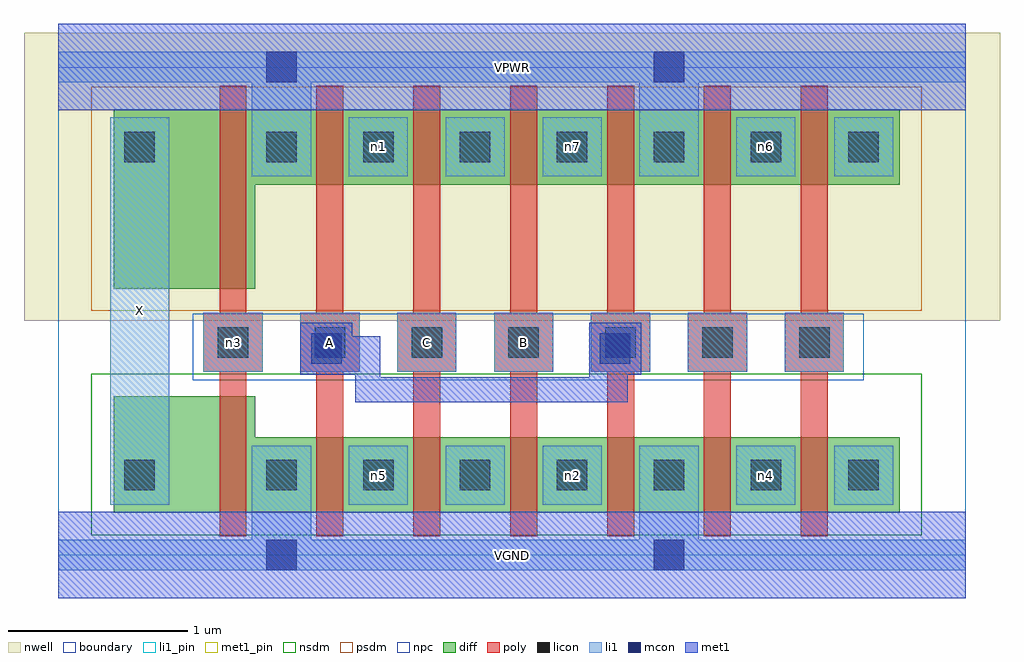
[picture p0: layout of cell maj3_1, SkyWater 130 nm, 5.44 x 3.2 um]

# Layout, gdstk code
import gdstk
lib = gdstk.Library(unit=1e-6, precision=1e-09)
def R(c, l, rs):  # rectangles x0, y0, x1, y1
    for r in rs: c.add(gdstk.rectangle(r[:2], r[2:], *l))
def A(c, l, x, y, w, h, nx, ny, dx, dy):  # array of equal rectangles
    R(c, l, [(x+i*dx, y+j*dy, x+i*dx+w, y+j*dy+h) for i in range(nx) for j in range(ny)])
nwell = (64, 20)
diff = (65, 20)
poly = (66, 20)
licon = (66, 44)
li1_pin = (67, 16)
li1 = (67, 20)
mcon = (67, 44)
met1_pin = (68, 16)
met1 = (68, 20)
nsdm = (93, 44)
psdm = (94, 20)
npc = (95, 20)
boundary = (235, 4)

maj3_1 = lib.new_cell('maj3_1')
R(maj3_1, nwell, [(-0.19,1.305,5.25,2.91), (0,1.305,5.06,2.91)])
R(maj3_1, diff, [(0.31,0.235,1.1,0.885), (1,0.235,4.69,0.655), (0.31,1.485,1.1,2.485), (1,2.065,4.69,2.485)])
A(maj3_1, poly, 0.9, 0.105, 0.15, 2.51, 7, 1, 0.54, 0)
A(maj3_1, poly, 0.81, 1.02, 0.33, 0.33, 7, 1, 0.54, 0)
A(maj3_1, licon, 1.16, 0.36, 0.17, 0.17, 6, 2, 0.54, 1.83)
A(maj3_1, licon, 0.89, 1.1, 0.17, 0.17, 7, 1, 0.54, 0)
R(maj3_1, licon, [(0.37,0.36,0.54,0.53), (4.405,0.36,4.575,0.53), (0.37,2.19,0.54,2.36), (4.405,2.19,4.575,2.36)])
A(maj3_1, li1_pin, 1.35, 1.02, 0.33, 0.33, 3, 1, 0.54, 0)
R(maj3_1, li1_pin, [(0.29,0.28,0.62,2.44)])
A(maj3_1, li1, 1.62, 0.28, 0.33, 0.33, 3, 2, 0.54, 1.83)
A(maj3_1, li1, 0.81, 1.02, 0.33, 0.33, 7, 1, 0.54, 0)
R(maj3_1, li1, [(0,-0.085,5.06,0.085), (1.08,-0.085,1.41,0.61), (3.24,-0.085,3.57,0.61), (0.29,0.28,0.62,2.44), (3.78,0.28,4.11,0.61), (4.325,0.28,4.655,0.61), (1.08,2.11,1.41,2.805), (3.24,2.11,3.57,2.805), (3.78,2.11,4.11,2.44), (4.325,2.11,4.655,2.44), (0,2.635,5.06,2.805)])
R(maj3_1, mcon, [(1.16,-0.085,1.33,0.085), (3.32,-0.085,3.49,0.085), (1.41,1.065,1.58,1.235), (3.02,1.065,3.19,1.235), (1.16,2.635,1.33,2.805), (3.32,2.635,3.49,2.805)])
R(maj3_1, met1_pin, [(0,-0.24,5.06,0.24), (0,2.48,5.06,2.96)])
R(maj3_1, met1, [(0,-0.24,5.06,0.24), (1.655,0.85,1.795,1.22), (1.655,0.85,3.175,0.99), (3.035,0.85,3.175,1.22), (2.96,0.99,3.175,1.005), (1.35,1.005,1.64,1.295), (1.64,1.005,1.655,1.22), (2.96,1.005,3.25,1.295), (1.425,1.08,1.795,1.22), (0,2.48,5.06,2.96)])
R(maj3_1, nsdm, [(0.185,0.11,4.815,1.01)])
R(maj3_1, psdm, [(0.185,1.36,4.815,2.61)])
R(maj3_1, npc, [(0.75,0.975,4.49,1.345)])
R(maj3_1, boundary, [(0,0,5.06,2.72)])
maj3_1.add(gdstk.Label('A', (1.515,1.185), layer=67, texttype=5))
maj3_1.add(gdstk.Label('B', (2.595,1.185), layer=67, texttype=5))
maj3_1.add(gdstk.Label('C', (2.055,1.185), layer=67, texttype=5))
maj3_1.add(gdstk.Label('X', (0.455,1.36), layer=67, texttype=5))
maj3_1.add(gdstk.Label('n3', (0.975,1.185), layer=67, texttype=5))
maj3_1.add(gdstk.Label('n5', (1.785,0.445), layer=67, texttype=5))
maj3_1.add(gdstk.Label('n2', (2.865,0.445), layer=67, texttype=5))
maj3_1.add(gdstk.Label('n4', (3.945,0.445), layer=67, texttype=5))
maj3_1.add(gdstk.Label('n1', (1.785,2.275), layer=67, texttype=5))
maj3_1.add(gdstk.Label('n7', (2.865,2.275), layer=67, texttype=5))
maj3_1.add(gdstk.Label('n6', (3.945,2.275), layer=67, texttype=5))
maj3_1.add(gdstk.Label('VPWR', (2.53,2.72), layer=68, texttype=5))
maj3_1.add(gdstk.Label('VGND', (2.53,0), layer=68, texttype=5))
maj3_1.add(gdstk.Label('A', (1.515,1.185), layer=67, texttype=16))
maj3_1.add(gdstk.Label('B', (2.595,1.185), layer=67, texttype=16))
maj3_1.add(gdstk.Label('C', (2.055,1.185), layer=67, texttype=16))
maj3_1.add(gdstk.Label('X', (0.455,1.36), layer=67, texttype=16))
maj3_1.add(gdstk.Label('VPWR', (2.53,2.72), layer=68, texttype=16))
maj3_1.add(gdstk.Label('VGND', (2.53,0), layer=68, texttype=16))

lib.write_gds('maj3_1.gds')
